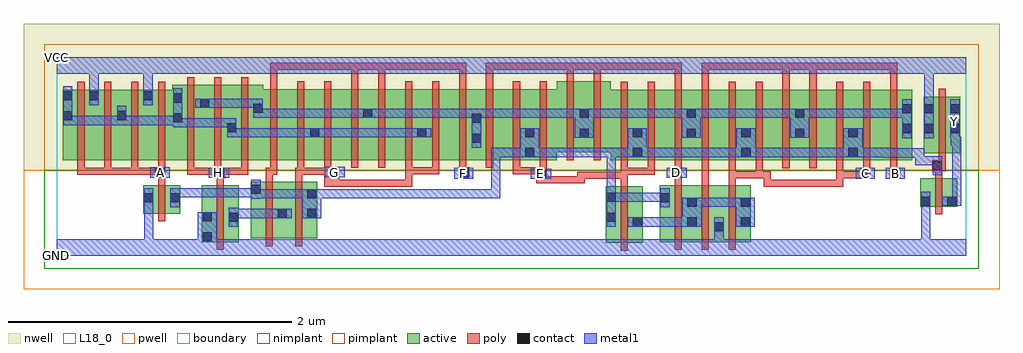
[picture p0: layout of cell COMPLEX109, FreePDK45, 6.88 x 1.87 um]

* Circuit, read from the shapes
.subckt COMPLEX109 A B C D E F G GND H VCC Y
M1 n1 A GND VSUBS nfet w=0.2u l=0.05u
M2 n2 H GND VSUBS nfet w=0.4u l=0.05u
M3 n2 F n1 VSUBS nfet w=0.4u l=0.05u
M4 n1 G n2 VSUBS nfet w=0.4u l=0.05u
M5 n3 E n1 VSUBS nfet w=0.4u l=0.05u
M6 n3 D n1 VSUBS nfet w=0.4u l=0.05u
M7 GND B n3 VSUBS nfet w=0.4u l=0.05u
M8 n3 C GND VSUBS nfet w=0.4u l=0.05u
M9 Y n1 GND VSUBS nfet w=0.2u l=0.05u
M10 VCC A n4 n5 pfet w=0.5u l=0.05u m=4
M11 n6 H n4 n5 pfet w=0.533u l=0.05u m=3
M12 n7 F n6 n5 pfet w=0.5u l=0.05u
M13 n4 G n7 n5 pfet w=0.5u l=0.05u
M14 n8 G n4 n5 pfet w=0.5u l=0.05u
M15 n6 F n8 n5 pfet w=0.5u l=0.05u
M16 n9 F n6 n5 pfet w=0.5u l=0.05u
M17 n4 G n9 n5 pfet w=0.5u l=0.05u
M18 n10 G n4 n5 pfet w=0.5u l=0.05u
M19 n6 F n10 n5 pfet w=0.5u l=0.05u
M20 n11 D n6 n5 pfet w=0.5u l=0.05u
M21 n1 E n11 n5 pfet w=0.5u l=0.05u
M22 n12 E n1 n5 pfet w=0.5u l=0.05u
M23 n6 D n12 n5 pfet w=0.5u l=0.05u
M24 n13 D n6 n5 pfet w=0.5u l=0.05u
M25 n1 E n13 n5 pfet w=0.5u l=0.05u
M26 n14 E n1 n5 pfet w=0.5u l=0.05u
M27 n6 D n14 n5 pfet w=0.5u l=0.05u
M28 n15 B n6 n5 pfet w=0.5u l=0.05u
M29 n1 C n15 n5 pfet w=0.5u l=0.05u
M30 n16 C n1 n5 pfet w=0.5u l=0.05u
M31 n6 B n16 n5 pfet w=0.5u l=0.05u
M32 n17 B n6 n5 pfet w=0.5u l=0.05u
M33 n1 C n17 n5 pfet w=0.5u l=0.05u
M34 n18 C n1 n5 pfet w=0.5u l=0.05u
M35 n6 B n18 n5 pfet w=0.5u l=0.05u
M36 Y n1 VCC n5 pfet w=0.4u l=0.05u
.ends

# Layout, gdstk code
import gdstk
lib = gdstk.Library(unit=1e-6, precision=1e-09)
def R(c, l, rs):  # rectangles x0, y0, x1, y1
    for r in rs: c.add(gdstk.rectangle(r[:2], r[2:], *l))
def A(c, l, x, y, w, h, nx, ny, dx, dy):  # array of equal rectangles
    R(c, l, [(x+i*dx, y+j*dy, x+i*dx+w, y+j*dy+h) for i in range(nx) for j in range(ny)])
active = (1, 0)
pwell = (2, 0)
nwell = (3, 0)
nimplant = (4, 0)
pimplant = (5, 0)
poly = (9, 0)
contact = (10, 0)
metal1 = (11, 0)
L18_0 = (18, 0)
boundary = (235, 0)

complex109 = lib.new_cell('COMPLEX109')
R(complex109, active, [(3.87,0.092,4.13,0.492), (1.022,0.097,1.282,0.497), (1.022,0.097,1.097,0.497), (4.25,0.097,4.515,0.497), (4.44,0.097,4.705,0.497), (4.63,0.097,4.89,0.497), (4.63,0.097,4.705,0.492), (1.367,0.122,1.627,0.522), (1.552,0.122,1.835,0.522), (1.207,0.147,1.282,0.497), (1.367,0.147,1.442,0.522), (1.552,0.147,1.627,0.492), (1.76,0.147,1.835,0.522), (3.87,0.147,3.945,0.492), (4.055,0.147,4.13,0.492), (4.25,0.147,4.325,0.497), (4.44,0.147,4.515,0.492), (4.815,0.147,4.89,0.497), (0.61,0.297,0.685,0.497), (0.61,0.297,0.87,0.497), (0.795,0.297,0.87,0.497), (6.087,0.347,6.162,0.547), (6.087,0.347,6.347,0.547), (6.272,0.347,6.347,0.547), (0.04,0.672,0.3,1.172), (0.04,0.672,0.115,1.167), (0.225,0.672,0.495,1.172), (0.42,0.672,0.68,1.172), (0.605,0.672,0.89,1.172), (0.815,0.672,1.08,1.205), (1.005,0.672,1.27,1.205), (1.195,0.672,1.455,1.205), (3.905,0.672,4.13,1.172), (4.055,0.672,4.285,1.172), (4.285,0.672,4.51,1.172), (4.435,0.672,4.665,1.172), (4.665,0.672,4.895,1.172), (4.82,0.672,5.045,1.172), (5.045,0.672,5.275,1.172), (5.2,0.672,5.425,1.172), (5.425,0.672,5.65,1.172), (5.575,0.672,5.805,1.172), (5.805,0.672,6.03,1.172), (5.955,0.672,6.03,1.157), (1.195,0.675,1.27,1.07), (1.38,0.675,1.625,1.175), (1.625,0.675,1.855,1.175), (1.78,0.675,2.005,1.175), (2.005,0.675,2.23,1.175), (2.155,0.675,2.385,1.175), (2.385,0.675,2.61,1.175), (2.535,0.675,2.765,1.175), (2.765,0.675,2.995,1.175), (2.92,0.675,3.145,1.175), (2.92,0.675,2.995,1.157), (3.145,0.675,3.372,1.175), (3.297,0.675,3.525,1.175), (1.78,0.682,1.855,1.07), (2.535,0.682,2.61,1.07), (3.297,0.682,3.372,1.07), (4.055,0.682,4.13,1.07), (4.82,0.682,4.895,1.07), (5.575,0.682,5.65,1.07), (0.815,0.707,0.89,1.167), (6.11,0.722,6.37,1.122), (6.11,0.722,6.185,1.122), (6.295,0.722,6.37,1.122), (3.525,0.73,3.755,1.23), (3.68,0.73,3.905,1.23), (3.68,0.73,3.755,1.157), (1.38,0.762,1.455,1.167), (2.155,0.762,2.23,1.157), (4.435,0.762,4.51,1.167), (5.2,0.762,5.275,1.157), (1.005,0.775,1.08,1.2), (0.225,0.795,0.3,1.167), (0.42,0.795,0.495,1.167), (0.605,0.795,0.68,1.167)])
R(complex109, pwell, [(-0.235,-0.235,6.645,0.602)])
R(complex109, nwell, [(-0.235,0.602,6.645,1.635)])
R(complex109, nimplant, [(-0.09,-0.09,6.5,0.602)])
R(complex109, pimplant, [(-0.09,0.602,6.5,1.49)])
A(complex109, poly, 4.355, 0.042, 0.05, 0.51, 3, 1, 0.19, 0)
A(complex109, poly, 0.145, 0.572, 0.05, 0.095, 4, 1, 0.19, 0)
A(complex109, poly, 0.92, 0.572, 0.05, 0.095, 3, 1, 0.19, 0)
A(complex109, poly, 3.975, 0.572, 0.05, 0.095, 4, 1, 0.19, 0)
A(complex109, poly, 2.455, 0.575, 0.05, 0.095, 3, 1, 0.19, 0)
A(complex109, poly, 0.145, 0.617, 0.05, 0.61, 4, 1, 0.19, 0)
A(complex109, poly, 0.92, 0.617, 0.05, 0.643, 3, 1, 0.19, 0)
A(complex109, poly, 3.975, 0.617, 0.05, 0.61, 11, 1, 0.19, 0)
A(complex109, poly, 1.505, 0.62, 0.05, 0.61, 11, 1, 0.19, 0)
A(complex109, poly, 1.885, 1.312, 0.05, 0.05, 3, 1, 0.19, 0)
R(complex109, poly, [(3.975,0.037,4.025,0.547), (1.127,0.042,1.177,0.552), (1.472,0.067,1.522,0.577), (1.68,0.067,1.73,0.577), (0.715,0.242,0.765,0.552), (6.192,0.292,6.242,0.602), (4.982,0.485,5.032,0.597), (4.982,0.485,5.222,0.535), (5.172,0.485,5.222,0.535), (5.172,0.485,5.412,0.535), (5.362,0.485,5.412,0.535), (5.362,0.485,5.412,0.535), (5.362,0.485,5.412,0.535), (5.362,0.485,5.545,0.535), (5.495,0.485,5.545,0.535), (5.495,0.485,5.545,0.535), (5.495,0.485,5.545,0.597), (1.885,0.487,1.992,0.625), (1.942,0.487,2.182,0.537), (2.132,0.487,2.182,0.537), (2.132,0.487,2.182,0.537), (2.132,0.487,2.182,0.537), (2.132,0.487,2.372,0.537), (2.322,0.487,2.372,0.537), (2.322,0.487,2.372,0.537), (2.322,0.487,2.372,0.537), (2.322,0.487,2.505,0.537), (2.455,0.487,2.505,0.537), (2.455,0.487,2.505,0.537), (2.455,0.487,2.505,0.625), (3.975,0.497,4.025,0.592), (0.715,0.502,0.765,0.597), (1.127,0.502,1.177,0.597), (4.355,0.502,4.405,0.597), (4.545,0.502,4.595,0.622), (4.735,0.502,4.785,0.597), (3.38,0.51,3.455,0.625), (3.405,0.51,3.587,0.56), (3.537,0.51,3.587,0.56), (3.537,0.51,3.587,0.56), (3.537,0.51,3.587,0.56), (3.537,0.51,3.72,0.56), (3.67,0.51,3.72,0.592), (1.472,0.527,1.522,0.622), (1.68,0.527,1.73,0.622), (3.67,0.542,3.777,0.592), (3.727,0.542,3.777,0.592), (3.727,0.542,4.025,0.592), (3.975,0.542,4.025,0.592), (3.975,0.542,4.025,0.592), (3.975,0.542,4.025,0.622), (0.69,0.547,0.765,0.622), (1.11,0.547,1.185,0.622), (4.33,0.547,4.405,0.622), (4.735,0.547,4.785,0.597), (4.735,0.547,4.785,0.597), (4.735,0.547,4.785,0.597), (4.735,0.547,4.785,0.667), (4.735,0.547,4.975,0.597), (4.925,0.547,4.975,0.597), (4.925,0.547,4.975,0.667), (4.925,0.547,5.032,0.597), (5.495,0.547,5.71,0.597), (5.495,0.547,5.545,0.667), (5.66,0.547,5.71,0.597), (5.66,0.547,5.71,0.597), (5.66,0.547,5.735,0.622), (5.872,0.547,5.947,0.622), (2.832,0.55,2.907,0.625), (6.192,0.552,6.242,0.647), (0.145,0.572,0.195,0.622), (0.145,0.572,0.385,0.622), (0.335,0.572,0.385,0.622), (0.335,0.572,0.385,0.622), (0.335,0.572,0.385,0.622), (0.335,0.572,0.575,0.622), (0.525,0.572,0.575,0.622), (0.525,0.572,0.575,0.622), (0.525,0.572,0.575,0.622), (0.525,0.572,0.74,0.622), (0.69,0.572,0.74,0.622), (0.69,0.572,0.74,0.622), (0.92,0.572,0.97,0.622), (0.92,0.572,1.16,0.622), (1.11,0.572,1.16,0.622), (1.11,0.572,1.16,0.622), (1.135,0.572,1.35,0.622), (1.3,0.572,1.35,0.622), (1.3,0.572,1.35,0.622), (1.3,0.572,1.35,0.622), (1.472,0.572,1.555,0.622), (1.505,0.572,1.555,0.67), (1.68,0.572,1.745,0.622), (1.695,0.572,1.745,0.622), (1.695,0.572,1.745,0.622), (1.695,0.572,1.935,0.622), (1.695,0.572,1.745,0.67), (3.975,0.572,4.215,0.622), (4.165,0.572,4.215,0.622), (4.165,0.572,4.215,0.622), (4.165,0.572,4.215,0.622), (4.545,0.572,4.595,0.622), (5.685,0.572,5.735,0.667), (5.875,0.572,5.925,0.667), (1.885,0.575,1.935,0.67), (2.455,0.575,2.695,0.625), (2.645,0.575,2.695,0.625), (2.645,0.575,2.695,0.625), (2.645,0.575,2.695,0.625), (3.215,0.575,3.265,0.67), (3.215,0.575,3.265,0.625), (3.215,0.575,3.265,0.625), (3.215,0.575,3.265,0.625), (3.215,0.575,3.43,0.625), (3.405,0.575,3.455,0.67), (6.17,0.597,6.265,0.672), (6.215,0.622,6.265,0.717), (6.215,0.667,6.265,1.177), (3.595,0.675,3.645,1.285), (3.785,0.675,3.835,1.285), (4.355,1.177,4.405,1.36), (4.545,1.177,4.595,1.36), (5.115,1.177,5.165,1.36), (5.305,1.177,5.355,1.36), (5.875,1.177,5.925,1.36), (1.505,1.18,1.555,1.362), (2.075,1.18,2.125,1.362), (2.265,1.18,2.315,1.362), (2.835,1.18,2.885,1.362), (3.025,1.18,3.075,1.362), (3.595,1.235,3.645,1.362), (3.785,1.235,3.835,1.36), (3.785,1.31,3.835,1.36), (3.785,1.31,3.835,1.36), (3.785,1.31,4.082,1.36), (3.785,1.31,3.835,1.362), (4.032,1.31,4.082,1.36), (4.032,1.31,4.082,1.36), (4.032,1.31,4.082,1.36), (4.032,1.31,4.247,1.36), (4.197,1.31,4.247,1.36), (4.197,1.31,4.247,1.36), (4.197,1.31,4.247,1.36), (4.197,1.31,4.405,1.36), (4.355,1.31,4.405,1.36), (4.355,1.31,4.405,1.36), (4.355,1.31,4.405,1.36), (4.545,1.31,4.595,1.36), (4.545,1.31,4.595,1.36), (4.545,1.31,4.595,1.36), (4.545,1.31,4.842,1.36), (4.792,1.31,4.842,1.36), (4.792,1.31,4.842,1.36), (4.792,1.31,4.842,1.36), (4.792,1.31,5.032,1.36), (4.982,1.31,5.032,1.36), (4.982,1.31,5.165,1.36), (5.115,1.31,5.165,1.36), (5.115,1.31,5.165,1.36), (5.115,1.31,5.165,1.36), (5.115,1.31,5.355,1.36), (5.305,1.31,5.355,1.36), (5.305,1.31,5.355,1.36), (5.305,1.31,5.355,1.36), (5.305,1.31,5.545,1.36), (5.495,1.31,5.545,1.36), (5.495,1.31,5.545,1.36), (5.495,1.31,5.545,1.36), (5.495,1.31,5.79,1.36), (5.74,1.31,5.79,1.36), (5.74,1.31,5.79,1.36), (5.74,1.31,5.79,1.36), (5.74,1.31,5.925,1.36), (5.875,1.31,5.925,1.36), (5.875,1.31,5.925,1.36), (5.875,1.31,5.925,1.36), (1.505,1.312,1.555,1.362), (1.505,1.312,1.555,1.362), (1.505,1.312,1.555,1.362), (1.505,1.312,1.802,1.362), (1.752,1.312,1.802,1.362), (1.752,1.312,1.802,1.362), (1.752,1.312,1.802,1.362), (1.752,1.312,1.935,1.362), (1.885,1.312,1.935,1.362), (1.885,1.312,1.935,1.362), (1.885,1.312,2.125,1.362), (2.075,1.312,2.315,1.362), (2.265,1.312,2.315,1.362), (2.265,1.312,2.315,1.362), (2.265,1.312,2.562,1.362), (2.512,1.312,2.562,1.362), (2.512,1.312,2.562,1.362), (2.512,1.312,2.562,1.362), (2.512,1.312,2.75,1.362), (2.7,1.312,2.75,1.362), (2.7,1.312,2.75,1.362), (2.7,1.312,2.75,1.362), (2.7,1.312,2.885,1.362), (2.835,1.312,2.885,1.362), (2.835,1.312,2.885,1.362), (2.835,1.312,2.885,1.362), (3.025,1.312,3.075,1.362), (3.025,1.312,3.075,1.362), (3.025,1.312,3.075,1.362), (3.025,1.312,3.297,1.362), (3.247,1.312,3.297,1.362), (3.247,1.312,3.297,1.362), (3.247,1.312,3.297,1.362), (3.247,1.312,3.455,1.362), (3.405,1.312,3.455,1.362), (3.405,1.312,3.455,1.362), (3.405,1.312,3.455,1.362), (3.405,1.312,3.645,1.362), (3.595,1.312,3.645,1.362), (3.595,1.312,3.835,1.362)])
R(complex109, contact, [(1.027,0.102,1.092,0.167), (4.635,0.172,4.7,0.237), (4.06,0.205,4.125,0.27), (4.445,0.205,4.51,0.27), (4.82,0.205,4.885,0.27), (1.212,0.24,1.277,0.305), (3.875,0.24,3.94,0.305), (1.027,0.242,1.092,0.307), (1.557,0.265,1.622,0.33), (1.765,0.265,1.83,0.33), (4.445,0.345,4.51,0.41), (4.82,0.345,4.885,0.41), (6.092,0.352,6.157,0.417), (6.277,0.352,6.342,0.417), (0.615,0.377,0.68,0.442), (0.8,0.377,0.865,0.442), (4.255,0.377,4.32,0.442), (3.875,0.38,3.94,0.445), (1.765,0.405,1.83,0.47), (1.372,0.437,1.437,0.502), (3.385,0.542,3.45,0.607), (0.695,0.552,0.76,0.617), (1.115,0.552,1.18,0.617), (4.335,0.552,4.4,0.617), (5.665,0.552,5.73,0.617), (5.877,0.552,5.942,0.617), (1.922,0.555,1.987,0.62), (2.837,0.555,2.902,0.62), (6.175,0.602,6.24,0.667), (3.302,0.695,3.367,0.76), (4.06,0.695,4.125,0.76), (4.825,0.695,4.89,0.76), (5.58,0.695,5.645,0.76), (2.925,0.797,2.99,0.862), (3.685,0.832,3.75,0.897), (4.44,0.832,4.505,0.897), (5.205,0.832,5.27,0.897), (1.785,0.835,1.85,0.9), (2.54,0.835,2.605,0.9), (3.302,0.835,3.367,0.9), (4.06,0.835,4.125,0.9), (4.825,0.835,4.89,0.9), (5.58,0.835,5.645,0.9), (5.96,0.865,6.025,0.93), (6.115,0.865,6.18,0.93), (6.3,0.865,6.365,0.93), (1.2,0.87,1.265,0.935), (2.925,0.937,2.99,1.002), (0.82,0.94,0.885,1.005), (0.045,0.955,0.11,1.02), (0.425,0.957,0.49,1.022), (2.16,0.972,2.225,1.037), (3.685,0.972,3.75,1.037), (4.44,0.972,4.505,1.037), (5.205,0.972,5.27,1.037), (5.96,1.005,6.025,1.07), (6.115,1.005,6.18,1.07), (6.3,1.005,6.365,1.07), (1.385,1.007,1.45,1.072), (1.01,1.042,1.075,1.107), (0.82,1.08,0.885,1.145), (0.045,1.095,0.11,1.16), (0.23,1.095,0.295,1.16), (0.61,1.095,0.675,1.16)])
A(complex109, metal1, 2.23, 0.405, 0.202, 0.065, 3, 1, 0.275, 0)
R(complex109, metal1, [(0,0,6.41,0.115), (0.615,0.05,0.68,0.27), (1.062,0.05,1.127,0.167), (4.635,0.05,4.7,0.202), (6.092,0.05,6.157,0.115), (6.092,0.05,6.157,0.115), (6.092,0.05,6.157,0.115), (6.092,0.05,6.157,0.115), (6.092,0.05,6.157,0.382), (0.992,0.102,1.127,0.307), (4.635,0.137,4.7,0.272), (0.615,0.205,0.68,0.27), (0.615,0.205,0.68,0.27), (0.615,0.205,0.68,0.27), (0.615,0.205,0.68,0.407), (1.212,0.205,1.277,0.34), (3.875,0.205,3.94,0.48), (4.025,0.205,4.16,0.27), (4.095,0.205,4.227,0.27), (4.162,0.205,4.227,0.27), (4.162,0.205,4.297,0.27), (4.232,0.205,4.297,0.27), (4.232,0.205,4.475,0.27), (4.41,0.205,4.475,0.27), (4.41,0.205,4.475,0.27), (4.41,0.205,4.545,0.41), (4.785,0.205,4.92,0.41), (1.212,0.265,1.437,0.33), (1.372,0.265,1.437,0.33), (1.372,0.265,1.437,0.33), (1.372,0.265,1.437,0.33), (1.372,0.265,1.587,0.33), (1.522,0.265,1.587,0.33), (1.522,0.265,1.587,0.33), (1.522,0.265,1.657,0.33), (1.73,0.265,1.865,0.47), (6.092,0.317,6.157,0.452), (0.615,0.342,0.68,0.477), (0.8,0.342,0.865,0.477), (4.255,0.342,4.32,0.477), (4.48,0.345,4.712,0.41), (4.647,0.345,4.712,0.41), (4.647,0.345,4.712,0.41), (4.647,0.345,4.712,0.41), (4.647,0.345,4.85,0.41), (4.785,0.345,4.85,0.41), (4.785,0.345,4.85,0.41), (6.242,0.352,6.377,0.417), (6.312,0.352,6.377,0.84), (6.312,0.352,6.377,0.417), (6.312,0.352,6.377,0.417), (6.312,0.352,6.377,0.417), (6.312,0.352,6.377,0.417), (3.875,0.38,4.09,0.445), (4.025,0.38,4.09,0.445), (4.025,0.38,4.09,0.445), (4.025,0.38,4.09,0.445), (4.025,0.38,4.227,0.445), (4.162,0.38,4.227,0.445), (4.162,0.38,4.32,0.445), (1.372,0.402,1.437,0.537), (1.372,0.405,1.587,0.47), (1.522,0.405,1.587,0.47), (1.522,0.405,1.587,0.47), (1.522,0.405,1.587,0.47), (1.522,0.405,1.747,0.47), (1.682,0.405,1.747,0.47), (1.682,0.405,1.795,0.47), (1.8,0.405,2.022,0.47), (1.957,0.405,2.022,0.47), (1.957,0.405,2.022,0.47), (1.957,0.405,2.022,0.47), (1.957,0.405,2.295,0.47), (2.23,0.405,2.295,0.47), (2.23,0.405,2.295,0.47), (2.23,0.405,2.295,0.47), (2.367,0.405,2.432,0.47), (2.367,0.405,2.432,0.47), (2.367,0.405,2.432,0.47), (2.367,0.405,2.57,0.47), (2.505,0.405,2.57,0.47), (2.505,0.405,2.57,0.47), (2.505,0.405,2.57,0.47), (2.642,0.405,2.707,0.47), (2.642,0.405,2.845,0.47), (2.78,0.405,2.845,0.47), (2.78,0.405,2.845,0.47), (2.78,0.405,2.845,0.47), (2.917,0.405,2.982,0.47), (2.917,0.405,2.982,0.47), (2.917,0.405,2.982,0.47), (2.917,0.405,3.127,0.47), (3.062,0.405,3.127,0.47), (3.062,0.405,3.127,0.76), (0.8,0.412,0.865,0.477), (0.8,0.412,0.865,0.477), (0.8,0.412,1.11,0.477), (1.045,0.412,1.11,0.477), (1.045,0.412,1.11,0.477), (1.045,0.412,1.11,0.477), (1.045,0.412,1.3,0.477), (1.235,0.412,1.3,0.477), (1.235,0.412,1.437,0.477), (1.372,0.412,1.437,0.477), (1.372,0.412,1.437,0.477), (3.875,0.415,3.94,0.76), (2.802,0.542,2.937,0.62), (3.342,0.542,3.485,0.615), (5.63,0.542,5.767,0.62), (5.842,0.542,5.977,0.62), (0.657,0.55,0.797,0.625), (1.072,0.55,1.215,0.622), (4.3,0.55,4.442,0.622), (1.887,0.555,2.03,0.627), (6.175,0.567,6.24,0.702), (6.05,0.637,6.115,0.757), (6.05,0.637,6.115,0.702), (6.05,0.637,6.24,0.702), (5.822,0.692,5.887,0.757), (5.822,0.692,5.887,0.757), (5.822,0.692,6.025,0.757), (5.822,0.692,5.887,0.76), (5.96,0.692,6.025,0.757), (5.96,0.692,6.115,0.757), (6.05,0.692,6.115,0.757), (3.062,0.695,3.127,0.76), (3.062,0.695,3.127,0.76), (3.062,0.695,3.127,0.76), (3.062,0.695,3.127,0.76), (3.062,0.695,3.127,0.76), (3.062,0.695,3.332,0.76), (3.267,0.695,3.402,0.9), (3.337,0.695,3.402,0.76), (3.337,0.695,3.402,0.76), (3.337,0.695,3.54,0.76), (3.475,0.695,3.54,0.76), (3.475,0.695,3.647,0.76), (3.582,0.695,3.647,0.76), (3.582,0.695,3.802,0.76), (3.737,0.695,3.802,0.76), (3.737,0.695,3.802,0.76), (3.737,0.695,3.802,0.76), (3.737,0.695,3.94,0.76), (3.875,0.695,3.94,0.76), (3.875,0.695,3.94,0.76), (3.875,0.695,3.94,0.76), (3.875,0.695,4.09,0.76), (4.025,0.695,4.09,0.76), (4.025,0.695,4.09,0.76), (4.025,0.695,4.16,0.9), (4.095,0.695,4.227,0.76), (4.162,0.695,4.227,0.76), (4.162,0.695,4.297,0.76), (4.232,0.695,4.297,0.76), (4.232,0.695,4.435,0.76), (4.37,0.695,4.435,0.76), (4.37,0.695,4.435,0.76), (4.37,0.695,4.435,0.76), (4.37,0.695,4.712,0.76), (4.647,0.695,4.712,0.76), (4.647,0.695,4.712,0.76), (4.647,0.695,4.712,0.76), (4.647,0.695,4.855,0.76), (4.79,0.695,4.855,0.76), (4.79,0.695,4.855,0.76), (4.79,0.695,4.925,0.9), (4.86,0.695,5.062,0.76), (4.997,0.695,5.062,0.76), (4.997,0.695,5.062,0.76), (4.997,0.695,5.062,0.76), (4.997,0.695,5.2,0.76), (5.135,0.695,5.2,0.76), (5.135,0.695,5.2,0.76), (5.135,0.695,5.2,0.76), (5.135,0.695,5.372,0.76), (5.307,0.695,5.372,0.76), (5.307,0.695,5.442,0.76), (5.377,0.695,5.442,0.76), (5.377,0.695,5.51,0.76), (5.445,0.695,5.51,0.76), (5.445,0.695,5.61,0.76), (5.545,0.695,5.68,0.9), (5.615,0.695,5.68,0.76), (5.615,0.695,5.68,0.76), (5.615,0.695,5.887,0.76), (2.925,0.762,2.99,1.037), (6.3,0.775,6.365,0.895), (6.3,0.775,6.377,0.84), (5.96,0.83,6.025,1.105), (6.115,0.83,6.18,1.105), (6.297,0.83,6.365,1.105), (3.65,0.832,3.785,1.037), (4.405,0.832,4.54,1.037), (5.17,0.832,5.305,1.037), (1.2,0.835,1.265,0.97), (1.2,0.835,1.437,0.9), (1.372,0.835,1.437,0.9), (1.372,0.835,1.437,0.9), (1.372,0.835,1.437,0.9), (1.372,0.835,1.587,0.9), (1.522,0.835,1.587,0.9), (1.522,0.835,1.587,0.9), (1.522,0.835,1.587,0.9), (1.522,0.835,1.725,0.9), (1.66,0.835,1.725,0.9), (1.66,0.835,1.815,0.9), (1.75,0.835,1.885,0.9), (1.82,0.835,1.885,0.9), (1.82,0.835,1.885,0.9), (1.82,0.835,2.022,0.9), (1.957,0.835,2.022,0.9), (1.957,0.835,2.295,0.9), (2.23,0.835,2.295,0.9), (2.23,0.835,2.295,0.9), (2.23,0.835,2.295,0.9), (2.23,0.835,2.432,0.9), (2.367,0.835,2.432,0.9), (2.367,0.835,2.432,0.9), (2.367,0.835,2.432,0.9), (2.367,0.835,2.57,0.9), (2.505,0.835,2.57,0.9), (2.505,0.835,2.57,0.9), (2.505,0.835,2.64,0.9), (0.82,0.905,0.885,0.97), (0.82,0.905,0.885,0.97), (0.82,0.905,0.885,1.18), (0.82,0.905,1.11,0.97), (1.045,0.905,1.11,0.97), (1.045,0.905,1.11,0.97), (1.045,0.905,1.11,0.97), (1.045,0.905,1.265,0.97), (0.045,0.92,0.11,1.195), (0.045,0.922,0.11,0.987), (0.045,0.922,0.11,0.987), (0.045,0.922,0.352,0.987), (0.287,0.922,0.352,0.987), (0.287,0.922,0.352,0.987), (0.287,0.922,0.352,0.987), (0.287,0.922,0.49,0.987), (0.425,0.922,0.49,0.987), (0.425,0.922,0.49,0.987), (0.425,0.922,0.49,1.057), (0.425,0.922,0.727,0.987), (0.662,0.922,0.727,0.987), (0.662,0.922,0.727,0.987), (0.662,0.922,0.727,0.987), (0.662,0.922,0.885,0.987), (1.385,0.972,1.45,1.107), (1.385,0.972,1.587,1.037), (1.522,0.972,1.587,1.037), (1.522,0.972,1.587,1.037), (1.522,0.972,1.587,1.037), (1.522,0.972,1.725,1.037), (1.66,0.972,1.725,1.037), (1.66,0.972,1.885,1.037), (1.82,0.972,1.885,1.037), (1.82,0.972,2.022,1.037), (1.957,0.972,2.022,1.037), (1.957,0.972,2.022,1.037), (1.957,0.972,2.022,1.037), (1.957,0.972,2.19,1.037), (2.125,0.972,2.19,1.037), (2.125,0.972,2.19,1.037), (2.125,0.972,2.26,1.037), (2.195,0.972,2.432,1.037), (2.367,0.972,2.432,1.037), (2.367,0.972,2.432,1.037), (2.367,0.972,2.432,1.037), (2.367,0.972,2.57,1.037), (2.505,0.972,2.57,1.037), (2.505,0.972,2.57,1.037), (2.505,0.972,2.57,1.037), (2.505,0.972,2.707,1.037), (2.642,0.972,2.707,1.037), (2.642,0.972,2.845,1.037), (2.78,0.972,2.845,1.037), (2.78,0.972,2.845,1.037), (2.78,0.972,2.845,1.037), (2.78,0.972,2.99,1.037), (2.925,0.972,2.99,1.037), (2.925,0.972,2.99,1.037), (2.925,0.972,3.127,1.037), (3.062,0.972,3.127,1.037), (3.062,0.972,3.265,1.037), (3.2,0.972,3.265,1.037), (3.2,0.972,3.265,1.037), (3.2,0.972,3.265,1.037), (3.2,0.972,3.402,1.037), (3.337,0.972,3.402,1.037), (3.337,0.972,3.54,1.037), (3.475,0.972,3.54,1.037), (3.475,0.972,3.54,1.037), (3.475,0.972,3.54,1.037), (3.475,0.972,3.715,1.037), (3.72,0.972,3.785,1.037), (3.72,0.972,3.785,1.037), (3.72,0.972,3.952,1.037), (3.887,0.972,3.952,1.037), (3.887,0.972,4.09,1.037), (4.025,0.972,4.09,1.037), (4.025,0.972,4.09,1.037), (4.025,0.972,4.09,1.037), (4.025,0.972,4.227,1.037), (4.162,0.972,4.227,1.037), (4.162,0.972,4.297,1.037), (4.232,0.972,4.297,1.037), (4.232,0.972,4.47,1.037), (4.405,0.972,4.47,1.037), (4.405,0.972,4.47,1.037), (4.475,0.972,4.712,1.037), (4.647,0.972,4.712,1.037), (4.647,0.972,4.712,1.037), (4.647,0.972,4.712,1.037), (4.647,0.972,4.85,1.037), (4.785,0.972,4.85,1.037), (4.785,0.972,4.85,1.037), (4.785,0.972,4.85,1.037), (4.785,0.972,5.062,1.037), (4.997,0.972,5.062,1.037), (4.997,0.972,5.062,1.037), (4.997,0.972,5.062,1.037), (4.997,0.972,5.235,1.037), (5.17,0.972,5.235,1.037), (5.17,0.972,5.235,1.037), (5.24,0.972,5.372,1.037), (5.307,0.972,5.372,1.037), (5.307,0.972,5.442,1.037), (5.377,0.972,5.442,1.037), (5.377,0.972,5.51,1.037), (5.445,0.972,5.51,1.037), (5.445,0.972,5.68,1.037), (5.615,0.972,5.68,1.037), (5.615,0.972,5.68,1.037), (5.615,0.972,5.68,1.037), (5.615,0.972,5.817,1.037), (5.752,0.972,5.817,1.037), (5.752,0.972,5.817,1.037), (5.752,0.972,5.817,1.037), (5.752,0.972,6.025,1.037), (6.115,1.04,6.18,1.35), (0.975,1.042,1.11,1.107), (1.045,1.042,1.247,1.107), (1.182,1.042,1.247,1.107), (1.182,1.042,1.247,1.107), (1.182,1.042,1.247,1.107), (1.182,1.042,1.45,1.107), (1.385,1.042,1.45,1.107), (1.385,1.042,1.45,1.107), (0.23,1.06,0.295,1.195), (0.61,1.06,0.675,1.195), (0.23,1.13,0.295,1.195), (0.23,1.13,0.295,1.195), (0.23,1.13,0.295,1.35), (0.61,1.13,0.675,1.35), (0,1.285,6.41,1.4), (0.61,1.285,0.675,1.35), (0.61,1.285,0.675,1.35), (6.115,1.285,6.18,1.35), (6.115,1.285,6.18,1.35)])
R(complex109, L18_0, [(0,0,6.41,0.115), (0.615,0.05,0.68,0.27), (1.062,0.05,1.127,0.167), (4.635,0.05,4.7,0.202), (6.092,0.05,6.157,0.115), (6.092,0.05,6.157,0.115), (6.092,0.05,6.157,0.115), (6.092,0.05,6.157,0.115), (6.092,0.05,6.157,0.382), (0.992,0.102,1.127,0.307), (4.635,0.137,4.7,0.272), (0.615,0.205,0.68,0.27), (0.615,0.205,0.68,0.27), (0.615,0.205,0.68,0.27), (0.615,0.205,0.68,0.407), (6.092,0.317,6.157,0.452), (0.615,0.342,0.68,0.477), (6.242,0.352,6.377,0.417), (6.312,0.352,6.377,0.417), (6.312,0.352,6.377,0.417), (6.312,0.352,6.377,0.417), (6.312,0.352,6.377,0.417), (6.312,0.352,6.377,0.84), (2.802,0.542,2.937,0.62), (3.342,0.542,3.485,0.615), (5.63,0.542,5.767,0.62), (5.842,0.542,5.977,0.62), (2.837,0.547,2.902,0.612), (3.377,0.547,3.442,0.612), (5.667,0.547,5.732,0.612), (5.877,0.547,5.942,0.612), (0.657,0.55,0.797,0.625), (1.072,0.55,1.215,0.622), (4.3,0.55,4.442,0.622), (1.887,0.555,2.03,0.627), (0.697,0.557,0.762,0.622), (1.107,0.557,1.172,0.622), (1.927,0.557,1.992,0.622), (4.337,0.557,4.402,0.622), (6.3,0.775,6.377,0.84), (6.3,0.775,6.365,0.895), (6.115,0.83,6.18,1.105), (6.297,0.83,6.365,1.105), (6.297,0.917,6.362,0.982), (6.115,1.04,6.18,1.35), (0.23,1.06,0.295,1.195), (0.61,1.06,0.675,1.195), (0.23,1.13,0.295,1.195), (0.23,1.13,0.295,1.195), (0.23,1.13,0.295,1.35), (0.61,1.13,0.675,1.35), (0,1.285,6.41,1.4), (0.61,1.285,0.675,1.35), (0.61,1.285,0.675,1.35), (6.115,1.285,6.18,1.35), (6.115,1.285,6.18,1.35)])
R(complex109, boundary, [(0,0,6.41,1.4)])
complex109.add(gdstk.Label('A', (0.73,0.59), layer=11, texttype=0))
complex109.add(gdstk.Label('B', (5.91,0.58), layer=11, texttype=0))
complex109.add(gdstk.Label('C', (5.7,0.58), layer=11, texttype=0))
complex109.add(gdstk.Label('D', (4.37,0.59), layer=11, texttype=0))
complex109.add(gdstk.Label('E', (3.41,0.58), layer=11, texttype=0))
complex109.add(gdstk.Label('F', (2.87,0.58), layer=11, texttype=0))
complex109.add(gdstk.Label('G', (1.96,0.59), layer=11, texttype=0))
complex109.add(gdstk.Label('H', (1.14,0.59), layer=11, texttype=0))
complex109.add(gdstk.Label('Y', (6.33,0.95), layer=11, texttype=0))
complex109.add(gdstk.Label('VCC', (0,1.4), layer=11, texttype=0))
complex109.add(gdstk.Label('GND', (0,0), layer=11, texttype=0))

lib.write_gds('COMPLEX109.gds')
